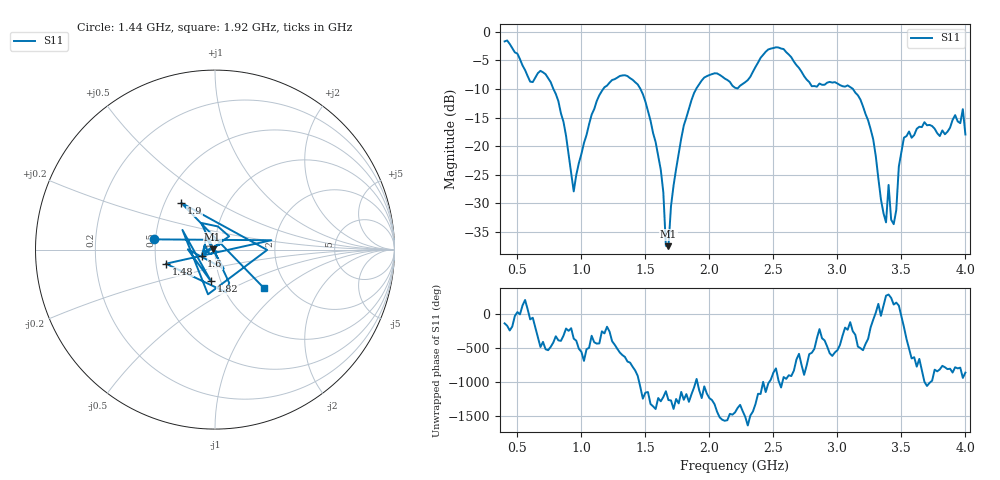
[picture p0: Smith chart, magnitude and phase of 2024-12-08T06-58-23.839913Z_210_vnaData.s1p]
!Created with skrf (http://scikit-rf.org).
# Hz S RI R 50.0
!freq ReS11 ImS11
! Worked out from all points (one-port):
!   181 points, 400 MHz to 4 GHz, reference 50 ohm
!   lowest |S11| = -37.5 dB at 1.68 GHz (marker M1), VSWR 1.03, Z = 48.7 + j0.113 ohm
!   |S11| at or under -10 dB: 781 MHz to 1.171 GHz (390 MHz wide, 40 % of centre); 1.461 GHz to 1.897 GHz (435.8 MHz wide, 26 % of centre); 3.121 GHz to end of sweep
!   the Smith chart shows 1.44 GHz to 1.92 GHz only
!   S11 on the Smith chart (normalised r, x): 1.44 GHz: 0.49, +0.06; 1.48 GHz: 0.56, -0.10; 1.6 GHz: 0.86, -0.06; 1.82 GHz: 0.90, -0.33; 1.9 GHz: 0.61, +0.35; 1.92 GHz: 1.53, -0.75
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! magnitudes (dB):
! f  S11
! 400 MHz  -1.7
! 720 MHz  -7.4
! 860 MHz  -15.8
! 940 MHz  -27.9
! 1.12 GHz  -12.1
! 1.3 GHz  -7.7
! 1.44 GHz  -9.2
! 1.48 GHz  -10.9
! 1.6 GHz  -21.7
! 1.64 GHz  -28.1
! 1.66 GHz  -37.4
! 1.68 GHz  -37.5
! 1.76 GHz  -21.3
! 1.82 GHz  -15.0
! 1.9 GHz  -9.9
! 1.92 GHz  -9.2
! 2.2 GHz  -9.8
! 2.46 GHz  -3.1
! 2.66 GHz  -5.2
! 3.1 GHz  -9.7
! 3.26 GHz  -17.1
! 3.38 GHz  -33.3
! 3.4 GHz  -26.8
! 3.44 GHz  -33.7
! 3.48 GHz  -23.6
! 3.56 GHz  -17.4
! 3.98 GHz  -13.5
! 4 GHz  -18.0
